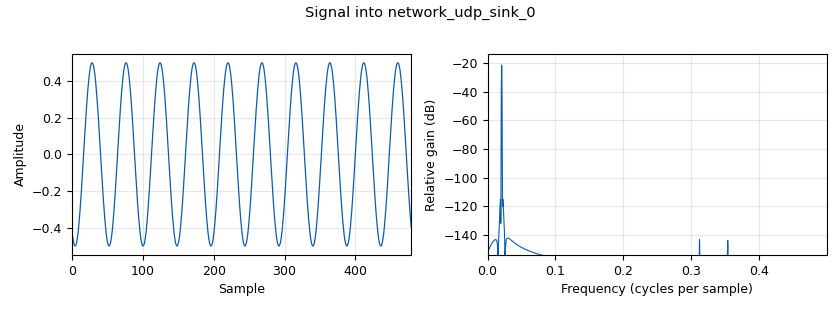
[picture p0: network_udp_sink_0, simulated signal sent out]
options:
  parameters:
    author: Albert Briscoe
    generate_options: qt_gui
    id: discord_bot_prototype
    output_language: python
    title: discord bot prototype
  states: {}

blocks:
- name: samp_rate
  id: variable
  parameters:
    value: '48000'
  states: {}
- name: analog_sig_source_x_0_0
  id: analog_sig_source_x
  parameters:
    amp: '0.5'
    freq: '1000'
    offset: '0'
    phase: '0'
    samp_rate: samp_rate
    type: float
    waveform: analog.GR_SIN_WAVE
  states: {}
- name: blocks_throttle_0_0
  id: blocks_throttle
  parameters:
    comment: Don't forget this
    samples_per_second: samp_rate
    type: float
  states: {}
- name: network_udp_sink_0
  id: network_udp_sink
  parameters:
    addr: 127.0.0.1
    header: '0'
    payloadsize: '1472'
    port: '1234'
    send_eof: 'False'
    type: float
  states: {}

connections:
- [analog_sig_source_x_0_0, '0', blocks_throttle_0_0, '0']
- [blocks_throttle_0_0, '0', network_udp_sink_0, '0']

metadata:
  file_format: 1
  grc_version: 3.10.5.0
